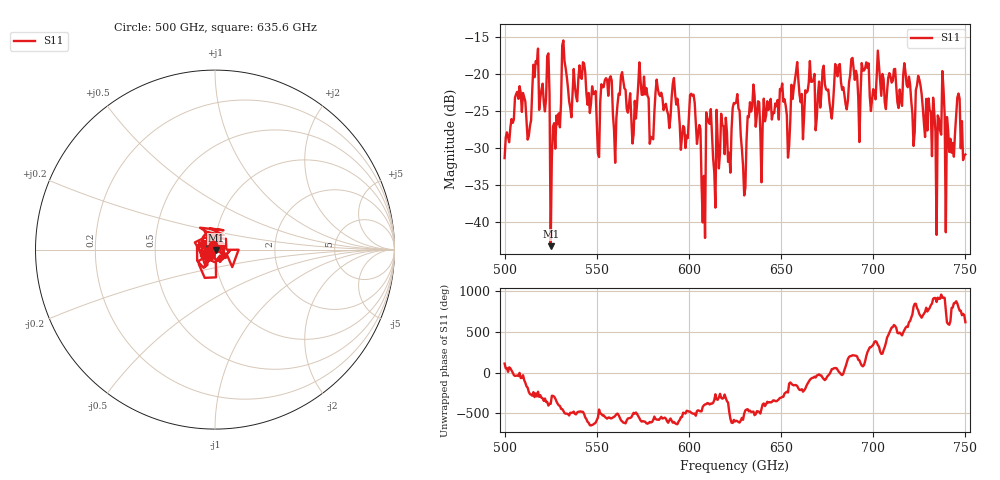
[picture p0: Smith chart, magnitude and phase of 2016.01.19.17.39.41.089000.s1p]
!Created with skrf (http://scikit-rf.org).
# GHz S RI R 50.0
!freq ReS11 ImS11
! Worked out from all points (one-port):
!   401 points, 500 GHz to 750 GHz, reference 50 ohm
!   lowest |S11| = -43.3 dB at 525 GHz (marker M1), VSWR 1.01, Z = 50.6 - j0.286 ohm
!   |S11| at or under -10 dB: start of sweep to end of sweep
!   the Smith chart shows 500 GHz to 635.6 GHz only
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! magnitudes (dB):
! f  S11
! 500 GHz  -31.4
! 507.5 GHz  -23.4
! 513.1 GHz  -28.4
! 516.9 GHz  -18.3
! 523.1 GHz  -17.6
! 525 GHz  -43.3
! 526.2 GHz  -27.1
! 531.2 GHz  -16.2
! 550.6 GHz  -30.8
! 562.5 GHz  -22.9
! 570 GHz  -28.2
! 574.4 GHz  -22.8
! 580 GHz  -28.6
! 583.1 GHz  -22.0
! 593.8 GHz  -23.4
! 601.9 GHz  -23.0
! 607.5 GHz  -40.1
! 610.6 GHz  -26.5
! 615 GHz  -24.9
! 625 GHz  -24.0
! 630 GHz  -36.4
! 634.4 GHz  -24.4
! 656.2 GHz  -23.4
! 687.5 GHz  -20.1
! 718.8 GHz  -21.8
! 733.1 GHz  -25.3
! 745.6 GHz  -23.2
! 750 GHz  -30.9
